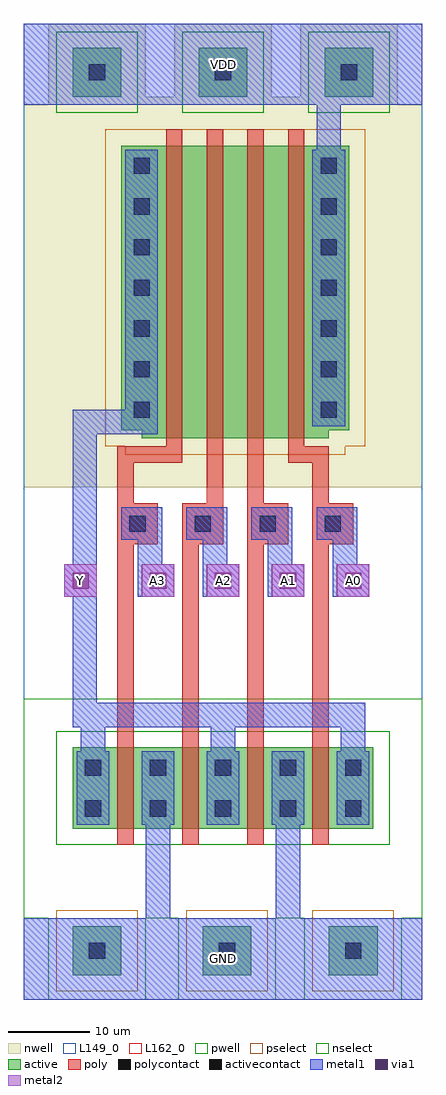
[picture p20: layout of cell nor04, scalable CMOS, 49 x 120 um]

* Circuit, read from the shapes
.subckt nor04 A0 A1 A2 A3 GND VDD Y
M1 GND A3 Y GND nfet w=10u l=2u
M2 Y A2 GND GND nfet w=10u l=2u
M3 GND A1 Y GND nfet w=10u l=2u
M4 Y A0 GND GND nfet w=10u l=2u
M5 n1 A3 Y VDD pfet w=36u l=2u
M6 n2 A2 n1 VDD pfet w=36u l=2u
M7 n3 A1 n2 VDD pfet w=36u l=2u
M8 VDD A0 n3 VDD pfet w=36u l=2u
.ends

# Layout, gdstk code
import gdstk
lib = gdstk.Library(unit=1e-6, precision=1e-09)
def R(c, l, rs):  # rectangles x0, y0, x1, y1
    for r in rs: c.add(gdstk.rectangle(r[:2], r[2:], *l))
def A(c, l, x, y, w, h, nx, ny, dx, dy):  # array of equal rectangles
    R(c, l, [(x+i*dx, y+j*dy, x+i*dx+w, y+j*dy+h) for i in range(nx) for j in range(ny)])
def P(c, l, *ps):  # polygons
    for p in ps: c.add(gdstk.Polygon(p, *l))
pwell = (41, 0)
nwell = (42, 0)
active = (43, 0)
pselect = (44, 0)
nselect = (45, 0)
poly = (46, 0)
polycontact = (47, 0)
activecontact = (48, 0)
metal1 = (49, 0)
via1 = (50, 0)
metal2 = (51, 0)
L149_0 = (149, 0)
L162_0 = (162, 0)

pwell_contact = lib.new_cell('pwell_contact')
R(pwell_contact, pwell, [(-6,-6,6,5)])
R(pwell_contact, active, [(-3,-3,3,3)])
R(pwell_contact, pselect, [(-5,-5,5,5)])
R(pwell_contact, activecontact, [(-1,-1,1,1)])

nwell_contact = lib.new_cell('nwell_contact')
R(nwell_contact, nwell, [(-6,-5,6,6)])
R(nwell_contact, active, [(-3,-3,3,3)])
R(nwell_contact, nselect, [(-5,-5,5,5)])
R(nwell_contact, activecontact, [(-1,-1,1,1)])

via = lib.new_cell('via')
R(via, metal1, [(-2,-2,2,2)])
R(via, via1, [(-1,-1,1,1)])
R(via, metal2, [(-2,-2,2,2)])

nor04 = lib.new_cell('nor04')
R(nor04, pwell, [(0,10,49,37), (0,15,49,37)])
R(nor04, nwell, [(0,63,49,110)])
P(nor04, nwell, [(8.5,63),(8.5,64),(6,64),(6,111),(46,111),(46,64),(43.5,64),(43.5,63)])
R(nor04, active, [(6,21,11.5,31), (6,21,43,31), (37.5,21,43,31)])
P(nor04, active, [(34.5,69),(34.5,105),(40,105),(40,70),(37.5,70),(37.5,69)],
  [(14.5,69),(14.5,70),(12,70),(12,105),(40,105),(40,70),(37.5,70),(37.5,69)],
  [(14.5,69),(14.5,70),(12,70),(12,105),(17.5,105),(17.5,69)])
P(nor04, pselect, [(12.5,67),(12.5,68),(10,68),(10,107),(42,107),(42,68),(39.5,68),(39.5,67)])
R(nor04, nselect, [(4,19,45,33)])
A(nor04, poly, 11.5, 19, 2, 2, 4, 2, 8, 12)
A(nor04, poly, 11.5, 21, 2, 10, 4, 1, 8, 0)
A(nor04, poly, 11.5, 56, 5, 5, 4, 1, 8, 0)
A(nor04, poly, 17.5, 67, 2, 2, 4, 2, 5, 38)
A(nor04, poly, 17.5, 69, 2, 36, 4, 1, 5, 0)
A(nor04, polycontact, 13, 57.5, 2, 2, 4, 1, 8, 0)
A(nor04, activecontact, 7.5, 22.5, 2, 2, 5, 2, 8, 5)
A(nor04, activecontact, 13.5, 71.5, 2, 2, 1, 7, 0, 5)
A(nor04, activecontact, 36.5, 71.5, 2, 2, 1, 7, 0, 5)
A(nor04, metal1, 6.5, 21.5, 4, 9, 5, 1, 8, 0)
A(nor04, metal1, 12, 56.5, 4, 4, 4, 1, 8, 0)
R(nor04, metal1, [(0,0,49,10), (0,0,49,10), (12.5,70.5,16.5,104.5), (35.5,70.5,39.5,104.5), (0,110,49,120), (0,110,49,120)])
A(nor04, metal2, 14.5, 49.5, 4, 4, 4, 1, 8, 0)
R(nor04, metal2, [(5,49.5,9,53.5)])
A(nor04, L149_0, 12, 56.5, 4, 4, 4, 1, 8, 0)
R(nor04, L149_0, [(0,0,49,10), (0,0,49,120), (0,110,49,120)])
A(nor04, L162_0, 14.5, 49.5, 4, 4, 4, 1, 8, 0)
R(nor04, L162_0, [(5,49.5,9,53.5)])
nor04.add(gdstk.FlexPath([(8.5,30.5),(8.5,35),(7.5,35),(7.5,71),(16.5,71)], 3, ends="flush", simple_path=True, layer=149, datatype=0))  # L149_0
nor04.add(gdstk.FlexPath([(16.5,21.5),(16.5,10)], 3, ends="flush", simple_path=True, layer=149, datatype=0))  # L149_0
nor04.add(gdstk.FlexPath([(26,35),(40.5,35),(40.5,30.5)], 3, ends="flush", simple_path=True, layer=149, datatype=0))  # L149_0
nor04.add(gdstk.FlexPath([(39.5,49.5),(39.5,60.5)], 3, ends="flush", simple_path=True, layer=149, datatype=0))  # L149_0
nor04.add(gdstk.FlexPath([(31.5,49.5),(31.5,60.5)], 3, ends="flush", simple_path=True, layer=149, datatype=0))  # L149_0
nor04.add(gdstk.FlexPath([(15.5,49.5),(15.5,60.5)], 3, ends="flush", simple_path=True, layer=149, datatype=0))  # L149_0
nor04.add(gdstk.FlexPath([(23.5,49.5),(23.5,60.5)], 3, ends="flush", simple_path=True, layer=149, datatype=0))  # L149_0
nor04.add(gdstk.FlexPath([(24.5,30.5),(24.5,35),(10,35)], 3, ends="flush", simple_path=True, layer=149, datatype=0))  # L149_0
nor04.add(gdstk.FlexPath([(32.5,21.5),(32.5,10)], 3, ends="flush", simple_path=True, layer=149, datatype=0))  # L149_0
nor04.add(gdstk.FlexPath([(37.5,104.5),(37.5,110)], 3, ends="flush", simple_path=True, layer=149, datatype=0))  # L149_0
nor04.add(gdstk.FlexPath([(8.5,30.5),(8.5,35),(7.5,35),(7.5,71),(16.5,71)], 3, ends="flush", simple_path=True, layer=49, datatype=0))  # metal1
nor04.add(gdstk.FlexPath([(16.5,21.5),(16.5,10)], 3, ends="flush", simple_path=True, layer=49, datatype=0))  # metal1
nor04.add(gdstk.FlexPath([(26,35),(40.5,35),(40.5,30.5)], 3, ends="flush", simple_path=True, layer=49, datatype=0))  # metal1
nor04.add(gdstk.FlexPath([(39.5,49.5),(39.5,60.5)], 3, ends="flush", simple_path=True, layer=49, datatype=0))  # metal1
nor04.add(gdstk.FlexPath([(31.5,49.5),(31.5,60.5)], 3, ends="flush", simple_path=True, layer=49, datatype=0))  # metal1
nor04.add(gdstk.FlexPath([(15.5,49.5),(15.5,60.5)], 3, ends="flush", simple_path=True, layer=49, datatype=0))  # metal1
nor04.add(gdstk.FlexPath([(23.5,49.5),(23.5,60.5)], 3, ends="flush", simple_path=True, layer=49, datatype=0))  # metal1
nor04.add(gdstk.FlexPath([(24.5,30.5),(24.5,35),(10,35)], 3, ends="flush", simple_path=True, layer=49, datatype=0))  # metal1
nor04.add(gdstk.FlexPath([(32.5,21.5),(32.5,10)], 3, ends="flush", simple_path=True, layer=49, datatype=0))  # metal1
nor04.add(gdstk.FlexPath([(37.5,104.5),(37.5,110)], 3, ends="flush", simple_path=True, layer=49, datatype=0))  # metal1
nor04.add(gdstk.FlexPath([(28.5,67),(28.5,33)], 2, ends="flush", simple_path=True, layer=46, datatype=0))  # poly
nor04.add(gdstk.FlexPath([(20.5,33),(20.5,60),(23.5,60),(23.5,67)], 2, ends="flush", simple_path=True, layer=46, datatype=0))  # poly
nor04.add(gdstk.FlexPath([(19.5,67),(12.5,67),(12.5,33)], 2, ends="flush", simple_path=True, layer=46, datatype=0))  # poly
nor04.add(gdstk.FlexPath([(32.5,67),(36.5,67),(36.5,33)], 2, ends="flush", simple_path=True, layer=46, datatype=0))  # poly
nor04.add(gdstk.Reference(pwell_contact, (9,6)))
nor04.add(gdstk.Reference(pwell_contact, (25,6)))
nor04.add(gdstk.Reference(pwell_contact, (40.5,6)))
nor04.add(gdstk.Reference(nwell_contact, (24.5,114)))
nor04.add(gdstk.Reference(nwell_contact, (9,114)))
nor04.add(gdstk.Reference(nwell_contact, (40,114)))
nor04.add(gdstk.Reference(via, (32.5,51.5)))
nor04.add(gdstk.Reference(via, (24.5,51.5)))
nor04.add(gdstk.Reference(via, (40.5,51.5)))
nor04.add(gdstk.Reference(via, (7,51.5)))
nor04.add(gdstk.Reference(via, (16.5,51.5)))
nor04.add(gdstk.Label('GND', (24.5,5), layer=2, texttype=0))
nor04.add(gdstk.Label('VDD', (24.5,115), layer=2, texttype=0))
nor04.add(gdstk.Label('A3', (16.5,51.5), layer=3, texttype=0))
nor04.add(gdstk.Label('Y', (7,51.5), layer=3, texttype=0))
nor04.add(gdstk.Label('A1', (32.5,51.5), layer=3, texttype=0))
nor04.add(gdstk.Label('A0', (40.5,51.5), layer=3, texttype=0))
nor04.add(gdstk.Label('A2', (24.5,51.5), layer=3, texttype=0))

lib.write_gds('nor04.gds')
